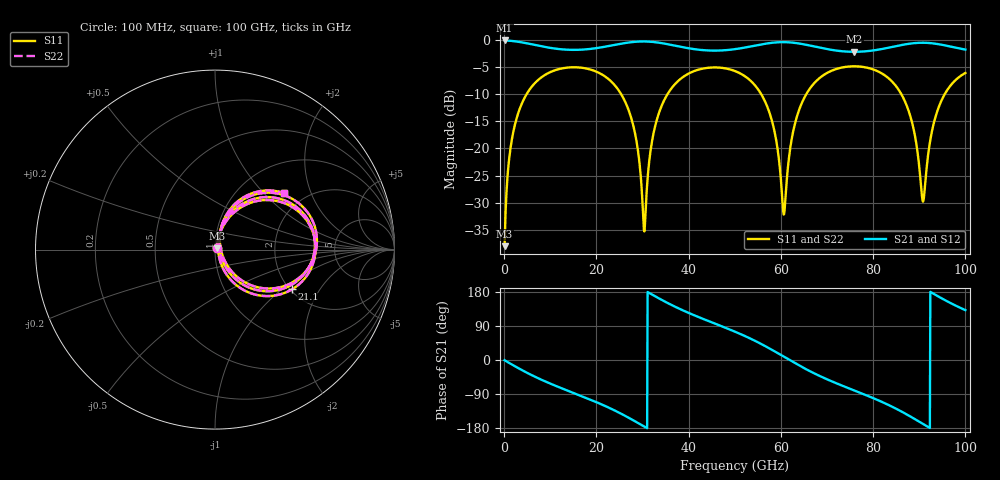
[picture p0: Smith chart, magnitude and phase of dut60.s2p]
! Touchstone file exported from HFSS 2026.1.0
!  File:  C:/ffzhzh/LocalFiles/Ansys_Project_Files/temp_train_TSV_RDL_60_1783623568_29156.aedt
!  Generated:  03:06:07 AM Jul 10, 2026
!  Design:  TSV_RDL
!  Project:  temp_train_TSV_RDL_60_1783623568_29156
! Variables:
!  h_bsmrdl = 2.44um
!  h_ox = 20um
!  h_rdl = 5um
!  h_sub = 54.05um
!  h_tmrdl = 3.71um
!  h_tsv = 54.05um
!  h_via = 3um
!  l_bsmrdl = 203.51um
!  l_sub = 2083.21um
!  l_tmrdl = 236.64um
!  m_sub = 200um
!  pitch = 54.52um
!  r_tsv = 9.49um
!  s_tmrdl = 10um
!  w_bsmrdl = 20.41um
!  w_sub = 500um
!  w_tmrdl = 21.63um
!  x_tsv_center1 = 247.455um
!  x_tsv_center2 = 471.375um
!  x_tsv_center3 = 729.645um
!  x_tsv_center4 = 953.565um
!  x_tsv_center5 = 1211.835um
!  x_tsv_center6 = 1435.755um
# GHz S MA R 50.000000
! Terminal data exported
! Port[1] = TM_RDL1_1_T1
! Port[2] = TM_RDL5_1_T1
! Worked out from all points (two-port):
!   1000 points, 100 MHz to 100 GHz, reference 50 ohm
!   highest |S21| = -0.09 dB at 100 MHz (marker M1); lowest = -2.2 dB at 75.9 GHz (marker M2)
!   |S21| within 3 dB of the highest: start of sweep to end of sweep
!   lowest |S11| = -38.0 dB at 100 MHz (marker M3), VSWR 1.03, Z = 51 + j0.782 ohm
!   |S11| at or under -10 dB: 25.37 GHz to 35.41 GHz (10.04 GHz wide, 33 % of centre); 55.74 GHz to 65.5 GHz (9.761 GHz wide, 16.1 % of centre); 86.11 GHz to 95.52 GHz (9.402 GHz wide, 10.4 % of centre) (the widest 3 of 4)
!   |S22| runs from -38.0 to -4.9 dB; largest |S21 - S12| = 1.8e-14
!   S11 on the Smith chart (normalised r, x): 100 MHz: 1.02, +0.02; 21.1 GHz: 2.05, -1.18; 100 GHz: 1.57, +1.31
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0.1  0.01254 37.7  0.9902 -0.7  0.9902 -0.7  0.01254 37.7
! Gamma 0 0 0 0
! Port Impedance 50 0 50 0
1.5  0.1089 72.6  0.9814 -10.7  0.9814 -10.7  0.1089 72.6
4.2  0.2801 58.0  0.9449 -28.9  0.9449 -28.9  0.2801 58.0
16.8  0.5548 -6.2  0.8145 -95.3  0.8145 -95.3  0.5548 -6.3
21.1  0.4836 -27.1  0.8558 -117.0  0.8558 -117.0  0.4835 -27.2
27.4  0.2001 -61.6  0.9529 -155.1  0.9529 -155.1  0.2 -61.7
30.4  0.01714 8.4  0.9692 -175.8  0.9692 -175.8  0.01672 8.7
31.8  0.09914 73.7  0.9631 174.5  0.9631 174.5  0.09911 73.9
33.4  0.2022 68.1  0.9463 163.6  0.9463 163.6  0.2022 68.2
39.6  0.4796 34.4  0.8445 126.4  0.8445 126.4  0.4796 34.5
50.1  0.5159 -15.3  0.8237 74.4  0.8237 74.4  0.5159 -15.2
57.2  0.2335 -52.7  0.9319 32.7  0.9319 32.7  0.2336 -52.5
59  0.1178 -58.8  0.9503 20.3  0.9503 20.3  0.118 -58.4
60.6  0.02457 1.2  0.9554 9.0  0.9554 9.0  0.02539 1.4
63  0.1659 73.2  0.9405 -7.9  0.9405 -7.9  0.166 72.9
66.7  0.3763 54.4  0.8812 -32.1  0.8812 -32.1  0.3763 54.3
75.9  0.572 9.2  0.778 -80.3  0.778 -80.3  0.572 9.1
83.4  0.4417 -26.9  0.85 -119.0  0.85 -119.0  0.4417 -27.0
88  0.2022 -50.5  0.9258 -148.5  0.9258 -148.5  0.2022 -50.6
90.8  0.03223 9.4  0.9432 -168.6  0.9432 -168.6  0.03206 9.4
94.1  0.2327 70.0  0.9158 167.8  0.9158 167.8  0.2327 70.0
100  0.4963 39.3  0.8153 131.5  0.8153 131.5  0.4963 39.3
